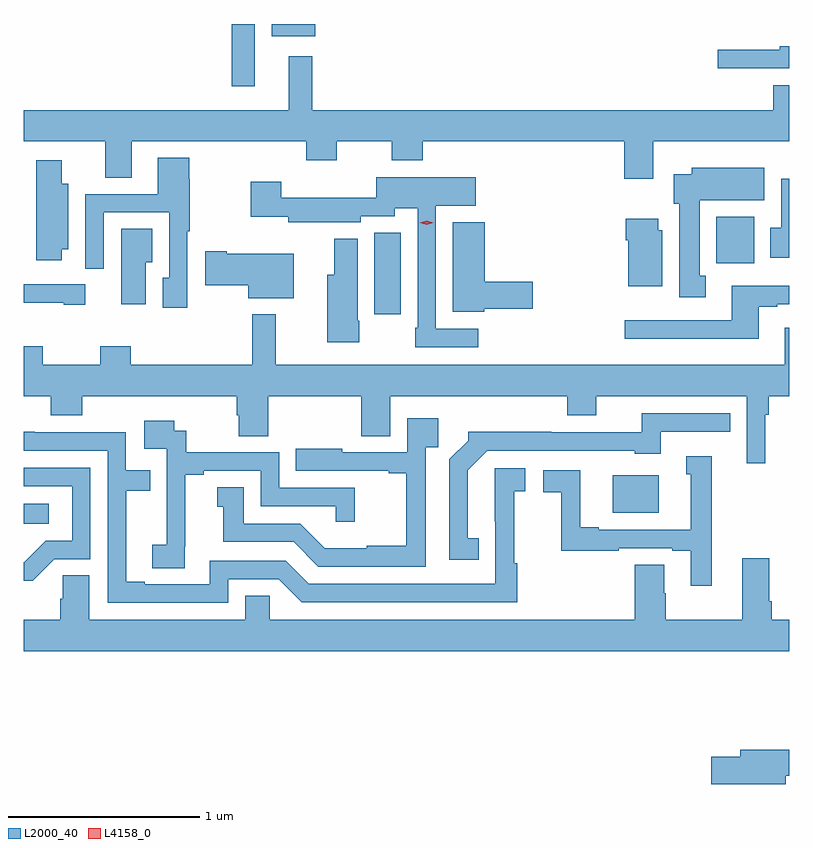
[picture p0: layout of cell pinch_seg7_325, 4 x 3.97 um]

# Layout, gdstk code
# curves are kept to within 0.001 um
import gdstk
lib = gdstk.Library(unit=1e-6, precision=1e-09)
def R(c, l, rs):  # rectangles x0, y0, x1, y1
    for r in rs: c.add(gdstk.rectangle(r[:2], r[2:], *l))
def P(c, l, *ps):  # polygons
    for p in ps: c.add(gdstk.Polygon(p, *l))
L2000_40 = (2000, 40)
L4158_0 = (4158, 0)

pinch_seg7_325 = lib.new_cell('pinch_seg7_325')
R(pinch_seg7_325, L2000_40, [(447.456,1051.898,447.586,1052.002), (450.533,1051.955,450.775,1052.152), (449.288,1052.994,449.425,1053.419), (451.076,1053.26,451.273,1053.502), (448.542,1054.185,448.663,1054.51), (448.751,1054.445,448.978,1054.51)])
P(pinch_seg7_325, L2000_40, [(451.456,1054.394),(451.406,1054.394),(451.406,1054.375),(451.083,1054.375),(451.083,1054.278),(451.456,1054.278)],
  [(450.745,1053.896),(451.456,1053.896),(451.456,1054.189),(451.373,1054.189),(451.373,1054.06),(448.963,1054.06),(448.963,1054.342),(448.841,1054.342),(448.841,1054.06),(447.456,1054.06),(447.456,1053.896),(447.881,1053.896),(447.881,1053.706),(448.021,1053.706),(448.021,1053.896),(448.931,1053.896),(448.931,1053.797),(449.091,1053.797),(449.091,1053.896),(449.38,1053.896),(449.38,1053.797),(449.54,1053.797),(449.54,1053.896),(450.593,1053.896),(450.593,1053.702),(450.745,1053.702)],
  [(448.311,1053.428),(448.324,1053.428),(448.324,1053.698),(448.32,1053.698),(448.32,1053.811),(448.157,1053.811),(448.157,1053.621),(447.777,1053.621),(447.777,1053.231),(447.873,1053.231),(447.873,1053.525),(448.215,1053.525),(448.215,1053.183),(448.181,1053.183),(448.181,1053.027),(448.311,1053.027)],
  [(447.655,1053.332),(447.688,1053.332),(447.688,1053.676),(447.655,1053.676),(447.655,1053.799),(447.521,1053.799),(447.521,1053.276),(447.655,1053.276)],
  [(451.021,1053.194),(450.988,1053.194),(450.988,1053.59),(451.327,1053.59),(451.327,1053.76),(450.947,1053.76),(450.947,1053.724),(450.854,1053.724),(450.854,1053.57),(450.881,1053.57),(450.881,1053.081),(451.021,1053.081)],
  [(449.83,1052.916),(449.61,1052.916),(449.61,1053.56),(449.818,1053.56),(449.818,1053.709),(449.298,1053.709),(449.298,1053.601),(448.802,1053.601),(448.802,1053.685),(448.642,1053.685),(448.642,1053.503),(448.838,1053.503),(448.838,1053.473),(449.218,1053.473),(449.218,1053.504),(449.394,1053.504),(449.394,1053.548),(449.514,1053.548),(449.514,1052.923),(449.502,1052.923),(449.502,1052.82),(449.83,1052.82)],
  [(451.456,1053.702),(451.415,1053.702),(451.415,1053.444),(451.358,1053.444),(451.358,1053.288),(451.456,1053.288)],
  [(450.793,1053.432),(450.772,1053.432),(450.772,1053.493),(450.602,1053.493),(450.602,1053.38),(450.614,1053.38),(450.614,1053.14),(450.793,1053.14)],
  [(449.862,1053.022),(450.115,1053.022),(450.115,1053.164),(449.866,1053.164),(449.866,1053.475),(449.699,1053.475),(449.699,1053.005),(449.862,1053.005)],
  [(448.093,1053.266),(448.126,1053.266),(448.126,1053.44),(447.965,1053.44),(447.965,1053.045),(448.093,1053.045)],
  [(449.208,1052.959),(449.2,1052.959),(449.2,1053.388),(449.078,1053.388),(449.078,1053.199),(449.042,1053.199),(449.042,1052.847),(449.208,1052.847)],
  [(448.867,1053.31),(448.516,1053.31),(448.516,1053.323),(448.404,1053.323),(448.404,1053.145),(448.628,1053.145),(448.628,1053.077),(448.867,1053.077)],
  [(447.777,1053.15),(447.456,1053.15),(447.456,1053.052),(447.665,1053.052),(447.665,1053.042),(447.777,1053.042)],
  [(451.297,1053.033),(451.393,1053.033),(451.393,1053.045),(451.456,1053.045),(451.456,1053.142),(451.157,1053.142),(451.157,1052.961),(450.597,1052.961),(450.597,1052.864),(451.297,1052.864)],
  [(451.33,1052.468),(451.349,1052.468),(451.349,1052.564),(451.456,1052.564),(451.456,1052.923),(451.433,1052.923),(451.433,1052.728),(448.772,1052.728),(448.772,1052.992),(448.651,1052.992),(448.651,1052.728),(448.016,1052.728),(448.016,1052.827),(447.856,1052.827),(447.856,1052.728),(447.555,1052.728),(447.555,1052.827),(447.456,1052.827),(447.456,1052.564),(447.596,1052.564),(447.596,1052.465),(447.761,1052.465),(447.761,1052.564),(448.568,1052.564),(448.568,1052.466),(448.58,1052.466),(448.58,1052.356),(448.733,1052.356),(448.733,1052.564),(449.219,1052.564),(449.219,1052.356),(449.371,1052.356),(449.371,1052.564),(450.296,1052.564),(450.296,1052.465),(450.448,1052.465),(450.448,1052.564),(451.233,1052.564),(451.233,1052.214),(451.33,1052.214)],
  [(449.834,1051.823),(449.776,1051.823),(449.776,1052.179),(449.877,1052.28),(450.648,1052.28),(450.648,1052.264),(450.784,1052.264),(450.784,1052.379),(451.148,1052.379),(451.148,1052.475),(450.685,1052.475),(450.685,1052.376),(450.212,1052.376),(450.212,1052.378),(449.778,1052.378),(449.778,1052.333),(449.679,1052.234),(449.679,1051.71),(449.834,1051.71)],
  [(449.556,1052.297),(449.621,1052.297),(449.621,1052.449),(449.46,1052.449),(449.46,1052.271),(449.119,1052.271),(449.119,1052.29),(448.876,1052.29),(448.876,1052.175),(449.363,1052.175),(449.363,1052.163),(449.455,1052.163),(449.455,1051.783),(449.249,1051.783),(449.249,1051.771),(449.03,1051.771),(448.902,1051.899),(448.606,1051.899),(448.606,1052.09),(448.466,1052.09),(448.466,1051.987),(448.499,1051.987),(448.499,1051.803),(448.866,1051.803),(448.995,1051.674),(449.556,1051.674)],
  [(448.298,1051.777),(448.3,1051.777),(448.3,1052.155),(448.396,1052.155),(448.396,1052.175),(448.695,1052.175),(448.695,1051.989),(449.085,1051.989),(449.085,1051.908),(449.186,1051.908),(449.186,1052.085),(448.791,1052.085),(448.791,1052.271),(448.304,1052.271),(448.304,1052.385),(448.242,1052.385),(448.242,1052.437),(448.086,1052.437),(448.086,1052.289),(448.203,1052.289),(448.203,1051.985),(448.202,1051.985),(448.202,1051.788),(448.128,1051.788),(448.128,1051.666),(448.298,1051.666)],
  [(448.524,1051.608),(448.788,1051.608),(448.908,1051.488),(450.035,1051.488),(450.035,1051.691),(450.018,1051.691),(450.018,1052.067),(450.076,1052.067),(450.076,1052.188),(449.918,1052.188),(449.919,1051.584),(448.944,1051.584),(448.824,1051.704),(448.428,1051.704),(448.428,1051.581),(448.087,1051.581),(448.087,1051.596),(447.991,1051.596),(447.991,1052.07),(448.118,1052.07),(448.118,1052.178),(447.99,1052.178),(447.99,1052.376),(447.512,1052.376),(447.512,1052.378),(447.456,1052.378),(447.456,1052.28),(447.894,1052.28),(447.894,1051.485),(448.524,1051.485)],
  [(451.051,1052.251),(450.917,1052.251),(450.917,1052.157),(450.941,1052.157),(450.941,1051.866),(450.46,1051.866),(450.46,1051.879),(450.364,1051.879),(450.364,1052.178),(450.171,1052.178),(450.171,1052.062),(450.265,1052.062),(450.265,1051.758),(450.566,1051.758),(450.566,1051.77),(450.845,1051.77),(450.845,1051.758),(450.941,1051.758),(450.941,1051.575),(451.051,1051.575)],
  [(447.615,1051.713),(447.804,1051.713),(447.804,1052.19),(447.456,1052.19),(447.456,1052.094),(447.708,1052.094),(447.708,1051.809),(447.57,1051.809),(447.459,1051.698),(447.456,1051.698),(447.456,1051.601),(447.502,1051.601)],
  [(451.456,1051.396),(451.364,1051.396),(451.364,1051.492),(451.351,1051.492),(451.351,1051.717),(451.211,1051.717),(451.211,1051.396),(450.81,1051.396),(450.81,1051.535),(450.802,1051.535),(450.802,1051.685),(450.65,1051.685),(450.65,1051.396),(448.74,1051.396),(448.74,1051.523),(448.613,1051.523),(448.613,1051.396),(447.799,1051.396),(447.799,1051.628),(447.66,1051.628),(447.66,1051.505),(447.647,1051.505),(447.647,1051.396),(447.456,1051.396),(447.456,1051.232),(451.456,1051.232)],
  [(451.438,1050.58),(451.456,1050.58),(451.456,1050.716),(451.199,1050.716),(451.199,1050.68),(451.05,1050.68),(451.05,1050.538),(451.438,1050.538)])
P(pinch_seg7_325, L4158_0, [(449.561,1053.462),(449.526,1053.472),(449.526,1053.472),(449.526,1053.472),(449.561,1053.482),(449.596,1053.472),(449.596,1053.472),(449.596,1053.472)])

lib.write_gds('pinch_seg7_325.gds')
